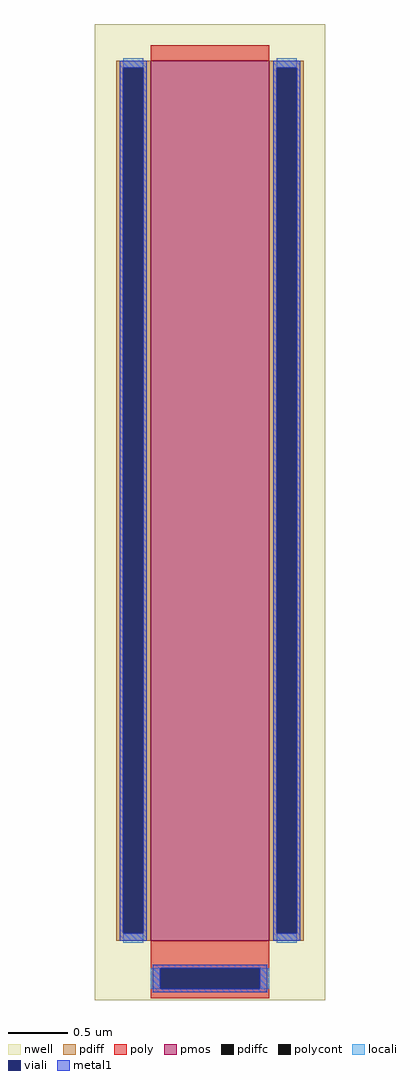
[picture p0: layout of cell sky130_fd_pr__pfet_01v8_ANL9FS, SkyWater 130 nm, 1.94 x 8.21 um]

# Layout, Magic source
magic
tech sky130A
magscale 1 2
<< nwell >>
rect -194 -804 194 838
<< pmos >>
rect -100 -704 100 776
<< pdiff >>
rect -158 764 -100 776
rect -158 -692 -146 764
rect -112 -692 -100 764
rect -158 -704 -100 -692
rect 100 764 158 776
rect 100 -692 112 764
rect 146 -692 158 764
rect 100 -704 158 -692
<< pdiffc >>
rect -146 -692 -112 764
rect 112 -692 146 764
<< poly >>
rect -100 776 100 802
rect -100 -751 100 -704
rect -100 -785 -84 -751
rect 84 -785 100 -751
rect -100 -801 100 -785
<< polycont >>
rect -84 -785 84 -751
<< locali >>
rect -146 764 -112 780
rect -146 -708 -112 -692
rect 112 764 146 780
rect 112 -708 146 -692
rect -100 -785 -84 -751
rect 84 -785 100 -751
<< viali >>
rect -146 -692 -112 764
rect 112 -692 146 764
rect -84 -785 84 -751
<< metal1 >>
rect -152 764 -106 776
rect -152 -692 -146 764
rect -112 -692 -106 764
rect -152 -704 -106 -692
rect 106 764 152 776
rect 106 -692 112 764
rect 146 -692 152 764
rect 106 -704 152 -692
rect -96 -751 96 -745
rect -96 -785 -84 -751
rect 84 -785 96 -751
rect -96 -791 96 -785
<< properties >>
string gencell sky130_fd_pr__pfet_01v8
string library sky130
string parameters w 7.4 l 1.0 m 1 nf 1 diffcov 100 polycov 100 guard 0 glc 1 grc 1 gtc 1 gbc 1 tbcov 100 rlcov 100 topc 0 botc 1 poverlap 0 doverlap 1 lmin 0.15 wmin 0.42 compatible {sky130_fd_pr__pfet_01v8  sky130_fd_pr__pfet_01v8_lvt sky130_fd_pr__pfet_01v8_hvt  sky130_fd_pr__pfet_g5v0d10v5} full_metal 1 viasrc 100 viadrn 100 viagate 100 viagb 0 viagr 0 viagl 0 viagt 0
<< end >>
